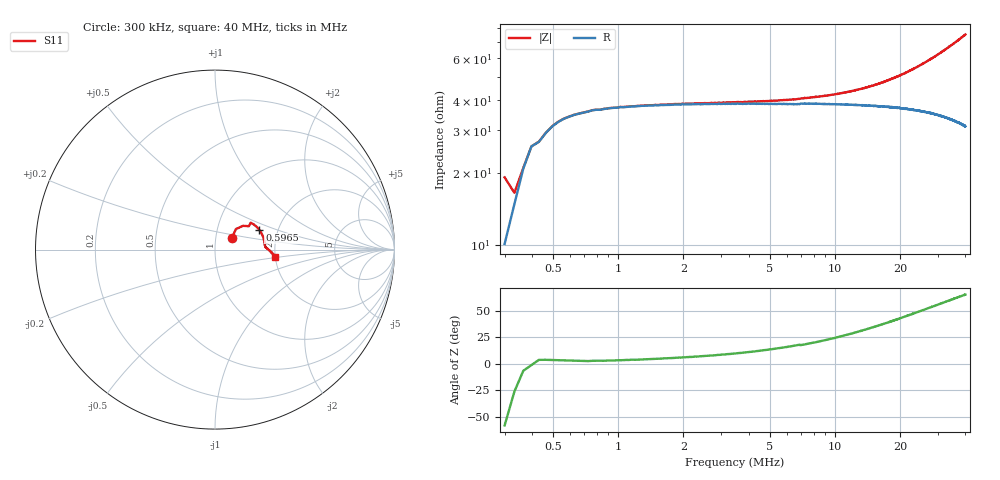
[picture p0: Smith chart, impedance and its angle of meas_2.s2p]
# HZ S RI R 50
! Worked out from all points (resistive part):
!   1206 points, 300 kHz to 40 MHz, reference 50 ohm
!   read as one part in series: R = 31.2 ohm at 497.7 kHz
!   S11 on the Smith chart (normalised r, x): 300 kHz: 1.19, +0.15; 596.5 kHz: 1.60, +0.38; 40 MHz: 1.99, -0.17
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300000  0.0927 0.0629  0.889 0.1311  0 0  0 0
398838  0.1885 0.1304  0.7954 0.00326  0 0  0 0
530622  0.2357 0.1231  0.7543 -0.0114  0 0  0 0
563568  0.2424 0.1158  0.7487 -0.0109  0 0  0 0
596514  0.2475 0.1093  0.7448 -0.0103  0 0  0 0
629460  0.2515 0.1037  0.7416 -0.00988  0 0  0 0
662406  0.2549 0.0981  0.7393 -0.00936  0 0  0 0
761244  0.2621 0.0851  0.7332 -0.00996  0 0  0 0
893028  0.2676 0.0724  0.7298 -0.011  0 0  0 0
1090704  0.2719 0.059  0.7267 -0.013  0 0  0 0
1453110  0.2754 0.0442  0.7239 -0.0167  0 0  0 0
1980246  0.2771 0.0328  0.7208 -0.0217  0 0  0 0
2705058  0.278 0.0249  0.7199 -0.0281  0 0  0 0
3792276  0.2791 0.0192  0.7189 -0.0378  0 0  0 0
6658578  0.2826 0.0123  0.716 -0.0633  0 0  0 0
6922146  0.2809 0.0154  0.715 -0.0636  0 0  0 0
7119822  0.2813 0.0151  0.7147 -0.0654  0 0  0 0
1.354429e7  0.2895 0.00705  0.7031 -0.1209  0 0  0 0
2.016644e7  0.2994 -0.000941  0.6846 -0.175  0 0  0 0
2.678858e7  0.3103 -0.0111  0.6606 -0.2256  0 0  0 0
3.341073e7  0.3222 -0.0239  0.6318 -0.2719  0 0  0 0
3.999993e7  0.334 -0.0389  0.5989 -0.3127  0 0  0 0
